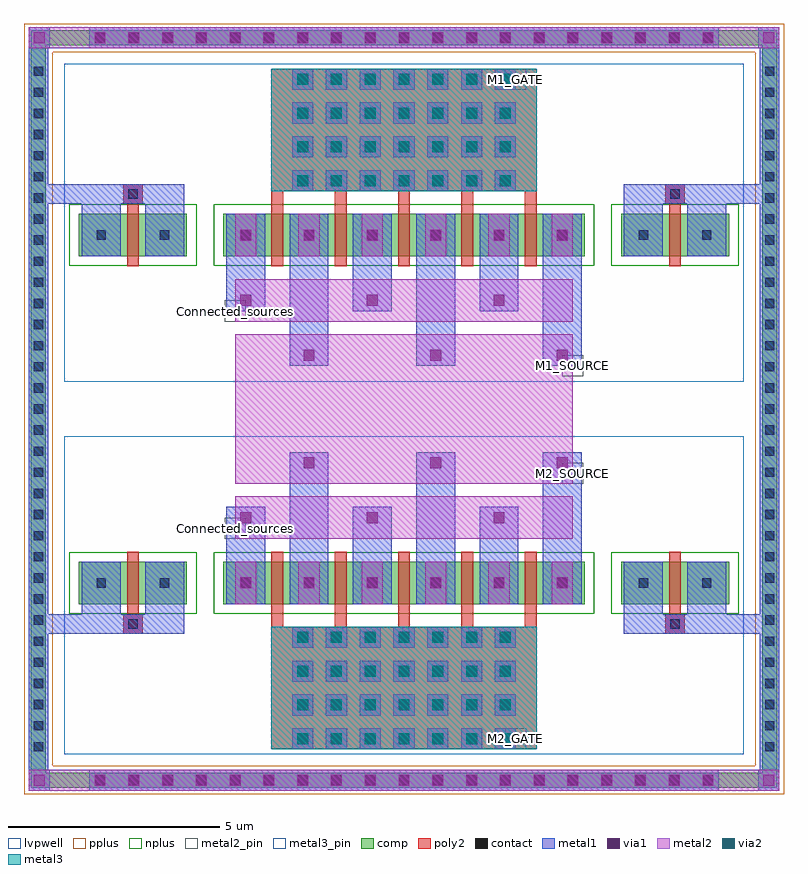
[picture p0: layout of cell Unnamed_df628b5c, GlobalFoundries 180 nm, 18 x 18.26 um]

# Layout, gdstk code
import gdstk
lib = gdstk.Library(unit=1e-6, precision=5e-09)
def R(c, l, rs):  # rectangles x0, y0, x1, y1
    for r in rs: c.add(gdstk.rectangle(r[:2], r[2:], *l))
def A(c, l, x, y, w, h, nx, ny, dx, dy):  # array of equal rectangles
    R(c, l, [(x+i*dx, y+j*dy, x+i*dx+w, y+j*dy+h) for i in range(nx) for j in range(ny)])
def P(c, l, *ps):  # polygons
    for p in ps: c.add(gdstk.Polygon(p, *l))
comp = (22, 0)
poly2 = (30, 0)
pplus = (31, 0)
nplus = (32, 0)
contact = (33, 0)
metal1 = (34, 0)
via1 = (35, 0)
metal2 = (36, 0)
metal2_pin = (36, 10)
via2 = (38, 0)
metal3 = (42, 0)
metal3_pin = (42, 10)
lvpwell = (204, 0)

unnamed_df628b5c = lib.new_cell('Unnamed_df628b5c')
A(unnamed_df628b5c, comp, -7.38, -13.385, 0.36, 0.36, 19, 2, 0.8, 17.58)
A(unnamed_df628b5c, comp, -8.84, -12.595, 0.36, 0.36, 1, 33, 0, 0.5)
A(unnamed_df628b5c, comp, 8.48, -12.595, 0.36, 0.36, 1, 33, 0, 0.5)
R(unnamed_df628b5c, comp, [(-7.38,-13.385,7.38,-13.025), (-8.84,-12.595,-8.48,3.765), (8.48,-12.595,8.84,3.765), (-7.7,-9.035,-5.14,-8.035), (-4.28,-9.035,4.28,-8.035), (5.14,-9.035,7.7,-8.035), (-7.7,-0.795,-5.14,0.205), (-4.28,-0.795,4.28,0.205), (5.14,-0.795,7.7,0.205), (-7.38,4.195,7.38,4.555)])
P(unnamed_df628b5c, comp, [(8.84,4.555),(-8.84,4.555),(-8.84,-13.025),(-8.48,-13.025),(-8.48,4.195),(8.48,4.195),(8.48,-13.025),(-8.48,-13.025),(-8.84,-13.025),(-8.84,-13.385),(8.84,-13.385)])
A(unnamed_df628b5c, poly2, -2.58, -12.405, 0.36, 0.36, 7, 4, 0.8, 0.8)
A(unnamed_df628b5c, poly2, -3.14, -9.575, 0.28, 0.3, 5, 2, 1.5, 10.02)
A(unnamed_df628b5c, poly2, -3.14, -9.275, 0.28, 1.48, 5, 2, 1.5, 8.24)
A(unnamed_df628b5c, poly2, -2.58, 0.815, 0.36, 0.36, 7, 4, 0.8, 0.8)
R(unnamed_df628b5c, poly2, [(-3.14,-12.475,3.14,-9.575), (-6.65,-9.735,-6.19,-9.275), (6.19,-9.735,6.65,-9.275), (-6.6,-9.685,-6.24,-9.325), (6.24,-9.685,6.6,-9.325), (-6.56,-9.275,-6.28,-7.795), (6.28,-9.275,6.56,-7.795), (-6.56,-1.035,-6.28,0.445), (6.28,-1.035,6.56,0.445), (-6.65,0.445,-6.19,0.905), (6.19,0.445,6.65,0.905), (-6.6,0.495,-6.24,0.855), (6.24,0.495,6.6,0.855), (-3.14,0.745,3.14,3.645)])
P(unnamed_df628b5c, pplus, [(9,4.715),(-9,4.715),(-9,-12.865),(-8.32,-12.865),(-8.32,4.035),(8.32,4.035),(8.32,-12.865),(-8.32,-12.865),(-9,-12.865),(-9,-13.545),(9,-13.545)])
R(unnamed_df628b5c, nplus, [(-7.93,-9.265,-4.91,-7.805), (-4.51,-9.265,4.51,-7.805), (4.91,-9.265,7.93,-7.805), (-7.93,-1.025,-4.91,0.435), (-4.51,-1.025,4.51,0.435), (4.91,-1.025,7.93,0.435)])
A(unnamed_df628b5c, contact, -7.31, -13.315, 0.22, 0.22, 19, 2, 0.8, 17.58)
A(unnamed_df628b5c, contact, -8.77, -12.525, 0.22, 0.22, 1, 33, 0, 0.5)
A(unnamed_df628b5c, contact, 8.55, -12.525, 0.22, 0.22, 1, 33, 0, 0.5)
A(unnamed_df628b5c, contact, -2.51, -12.335, 0.22, 0.22, 7, 4, 0.8, 0.8)
A(unnamed_df628b5c, contact, -3.86, -8.645, 0.22, 0.22, 6, 2, 1.5, 8.24)
A(unnamed_df628b5c, contact, -2.51, 0.885, 0.22, 0.22, 7, 4, 0.8, 0.8)
R(unnamed_df628b5c, contact, [(-6.53,-9.615,-6.31,-9.395), (6.31,-9.615,6.53,-9.395), (-7.28,-8.645,-7.06,-8.425), (-5.78,-8.645,-5.56,-8.425), (5.56,-8.645,5.78,-8.425), (7.06,-8.645,7.28,-8.425), (-7.28,-0.405,-7.06,-0.185), (-5.78,-0.405,-5.56,-0.185), (5.56,-0.405,5.78,-0.185), (7.06,-0.405,7.28,-0.185), (-6.53,0.565,-6.31,0.785), (6.31,0.565,6.53,0.785)])
A(unnamed_df628b5c, metal1, -7.45, -13.455, 0.5, 0.5, 19, 2, 0.8, 17.58)
A(unnamed_df628b5c, metal1, -8.89, -12.645, 0.46, 0.46, 1, 33, 0, 0.5)
A(unnamed_df628b5c, metal1, 8.43, -12.645, 0.46, 0.46, 1, 33, 0, 0.5)
A(unnamed_df628b5c, metal1, -2.65, -12.475, 0.5, 0.5, 7, 4, 0.8, 0.8)
A(unnamed_df628b5c, metal1, -4.21, -9.035, 0.92, 1, 6, 2, 1.5, 8.24)
A(unnamed_df628b5c, metal1, -3.98, -8.765, 0.46, 0.46, 6, 2, 1.5, 8.24)
A(unnamed_df628b5c, metal1, -4.21, -8.035, 0.92, 1.3, 3, 2, 3, 5.94)
A(unnamed_df628b5c, metal1, -2.71, -8.035, 0.92, 2.6, 3, 2, 3, 4.64)
A(unnamed_df628b5c, metal1, -4, -7.235, 0.5, 0.5, 3, 2, 3, 5.14)
A(unnamed_df628b5c, metal1, -2.5, -5.935, 0.5, 0.5, 3, 2, 3, 2.54)
A(unnamed_df628b5c, metal1, -2.65, 0.745, 0.5, 0.5, 7, 4, 0.8, 0.8)
R(unnamed_df628b5c, metal1, [(-8.89,-13.455,-8.39,-12.955), (-8.89,-13.455,-8.39,-12.955), (-8.89,-13.455,-8.43,-13.025), (-7.45,-13.455,7.45,-12.955), (8.39,-13.455,8.89,-12.955), (8.39,-13.455,8.89,-12.955), (8.43,-13.455,8.89,-13.025), (-8.89,-13.025,-8.43,4.195), (8.43,-13.025,8.89,4.195), (-8.43,-9.735,-6.19,-9.275), (-7.63,-9.735,-6.65,-9.275), (-7.63,-9.735,-6.71,-9.035), (-6.65,-9.735,-6.19,-9.275), (-6.19,-9.735,-5.21,-9.275), (-6.13,-9.735,-5.21,-9.035), (5.21,-9.735,6.19,-9.275), (5.21,-9.735,6.13,-9.035), (6.19,-9.735,6.65,-9.275), (6.19,-9.735,8.43,-9.275), (6.65,-9.735,7.63,-9.275), (6.71,-9.735,7.63,-9.035), (-7.63,-9.035,-6.71,-8.035), (-6.13,-9.035,-5.21,-8.035), (5.21,-9.035,6.13,-8.035), (6.71,-9.035,7.63,-8.035), (-4,-8.785,-3.5,-8.285), (-4,-8.785,-3.5,-8.285), (-2.5,-8.785,-2,-8.285), (-2.5,-8.785,-2,-8.285), (-1,-8.785,-0.5,-8.285), (-1,-8.785,-0.5,-8.285), (0.5,-8.785,1,-8.285), (0.5,-8.785,1,-8.285), (2,-8.785,2.5,-8.285), (2,-8.785,2.5,-8.285), (3.5,-8.785,4,-8.285), (3.5,-8.785,4,-8.285), (-7.4,-8.765,-6.94,-8.305), (-5.9,-8.765,-5.44,-8.305), (5.44,-8.765,5.9,-8.305), (6.94,-8.765,7.4,-8.305), (-7.63,-0.795,-6.71,0.205), (-6.13,-0.795,-5.21,0.205), (5.21,-0.795,6.13,0.205), (6.71,-0.795,7.63,0.205), (-4,-0.545,-3.5,-0.045), (-4,-0.545,-3.5,-0.045), (-2.5,-0.545,-2,-0.045), (-2.5,-0.545,-2,-0.045), (-1,-0.545,-0.5,-0.045), (-1,-0.545,-0.5,-0.045), (0.5,-0.545,1,-0.045), (0.5,-0.545,1,-0.045), (2,-0.545,2.5,-0.045), (2,-0.545,2.5,-0.045), (3.5,-0.545,4,-0.045), (3.5,-0.545,4,-0.045), (-7.4,-0.525,-6.94,-0.065), (-5.9,-0.525,-5.44,-0.065), (5.44,-0.525,5.9,-0.065), (6.94,-0.525,7.4,-0.065), (-7.63,0.205,-6.71,0.905), (-6.13,0.205,-5.21,0.905), (5.21,0.205,6.13,0.905), (6.71,0.205,7.63,0.905), (-8.43,0.445,-6.19,0.905), (-7.63,0.445,-6.65,0.905), (-6.65,0.445,-6.19,0.905), (-6.19,0.445,-5.21,0.905), (5.21,0.445,6.19,0.905), (6.19,0.445,6.65,0.905), (6.19,0.445,8.43,0.905), (6.65,0.445,7.63,0.905), (-8.89,4.125,-8.39,4.625), (-8.89,4.125,-8.39,4.625), (-7.45,4.125,7.45,4.625), (8.39,4.125,8.89,4.625), (8.39,4.125,8.89,4.625), (-8.89,4.195,-8.43,4.625), (8.43,4.195,8.89,4.625)])
A(unnamed_df628b5c, via1, -7.33, -13.335, 0.26, 0.26, 19, 2, 0.8, 17.58)
A(unnamed_df628b5c, via1, -2.53, -12.355, 0.26, 0.26, 7, 4, 0.8, 0.8)
A(unnamed_df628b5c, via1, -3.88, -8.665, 0.26, 0.26, 6, 2, 1.5, 8.24)
A(unnamed_df628b5c, via1, -3.88, -7.115, 0.26, 0.26, 3, 2, 3, 5.14)
A(unnamed_df628b5c, via1, -2.38, -5.815, 0.26, 0.26, 3, 2, 3, 2.54)
A(unnamed_df628b5c, via1, -2.53, 0.865, 0.26, 0.26, 7, 4, 0.8, 0.8)
R(unnamed_df628b5c, via1, [(-8.77,-13.335,-8.51,-13.075), (8.51,-13.335,8.77,-13.075), (-8.77,4.245,-8.51,4.505), (8.51,4.245,8.77,4.505)])
A(unnamed_df628b5c, metal2, -7.45, -13.455, 0.5, 0.5, 19, 2, 0.8, 17.58)
A(unnamed_df628b5c, metal2, -2.65, -12.475, 0.5, 0.5, 7, 4, 0.8, 0.8)
A(unnamed_df628b5c, metal2, -4, -9.035, 0.5, 1, 6, 2, 1.5, 8.24)
A(unnamed_df628b5c, metal2, -4, -8.785, 0.5, 0.5, 6, 2, 1.5, 8.24)
A(unnamed_df628b5c, metal2, -4, -7.235, 0.5, 0.5, 3, 2, 3, 5.14)
A(unnamed_df628b5c, metal2, -2.5, -5.935, 0.5, 0.5, 3, 2, 3, 2.54)
A(unnamed_df628b5c, metal2, -2.65, 0.745, 0.5, 0.5, 7, 4, 0.8, 0.8)
R(unnamed_df628b5c, metal2, [(-8.89,-13.455,-8.39,-12.955), (-8.89,-13.455,-8.39,-12.955), (-8.89,-13.455,-8.48,-12.955), (-8.48,-13.455,8.48,-12.955), (8.39,-13.455,8.89,-12.955), (8.39,-13.455,8.89,-12.955), (8.48,-13.455,8.89,-12.955), (-4,-7.485,4,-6.485), (-4,-6.185,4,-5.185), (-4,-5.185,4,-3.645), (-4,-3.645,4,-2.645), (-4,-2.345,4,-1.345), (-8.89,4.125,-8.39,4.625), (-8.89,4.125,-8.39,4.625), (-8.89,4.125,-8.48,4.625), (-8.48,4.125,8.48,4.625), (8.39,4.125,8.89,4.625), (8.39,4.125,8.89,4.625), (8.48,4.125,8.89,4.625)])
P(unnamed_df628b5c, metal2, [(-4,-3.645),(-4,-3.645),(-4,-2.645),(-4,-2.645)])
R(unnamed_df628b5c, metal2_pin, [(-4.25,-7.485,-3.75,-6.985), (3.75,-6.185,4.25,-5.685), (3.75,-3.645,4.25,-3.145), (-4.25,-2.345,-3.75,-1.845)])
A(unnamed_df628b5c, via2, -2.53, -12.355, 0.26, 0.26, 7, 4, 0.8, 0.8)
A(unnamed_df628b5c, via2, -2.53, 0.865, 0.26, 0.26, 7, 4, 0.8, 0.8)
A(unnamed_df628b5c, metal3, -2.65, -12.475, 0.5, 0.5, 7, 4, 0.8, 0.8)
A(unnamed_df628b5c, metal3, -2.65, 0.745, 0.5, 0.5, 7, 4, 0.8, 0.8)
R(unnamed_df628b5c, metal3, [(-3.14,-12.475,3.14,-9.575), (-3.14,0.745,3.14,3.645)])
R(unnamed_df628b5c, metal3_pin, [(2.4,-12.475,2.9,-11.975), (2.4,3.145,2.9,3.645)])
R(unnamed_df628b5c, lvpwell, [(-8.05,-12.595,8.05,-5.065), (-8.05,-3.765,8.05,3.765)])
unnamed_df628b5c.add(gdstk.Label('Connected_sources', (-4,-7.235), layer=36, texttype=10))
unnamed_df628b5c.add(gdstk.Label('M2_SOURCE', (4,-5.935), layer=36, texttype=10))
unnamed_df628b5c.add(gdstk.Label('M2_GATE', (2.65,-12.225), layer=42, texttype=10))
unnamed_df628b5c.add(gdstk.Label('Connected_sources', (-4,-2.095), layer=36, texttype=10))
unnamed_df628b5c.add(gdstk.Label('M1_SOURCE', (4,-3.395), layer=36, texttype=10))
unnamed_df628b5c.add(gdstk.Label('M1_GATE', (2.65,3.395), layer=42, texttype=10))

lib.write_gds('Unnamed_df628b5c.gds')
